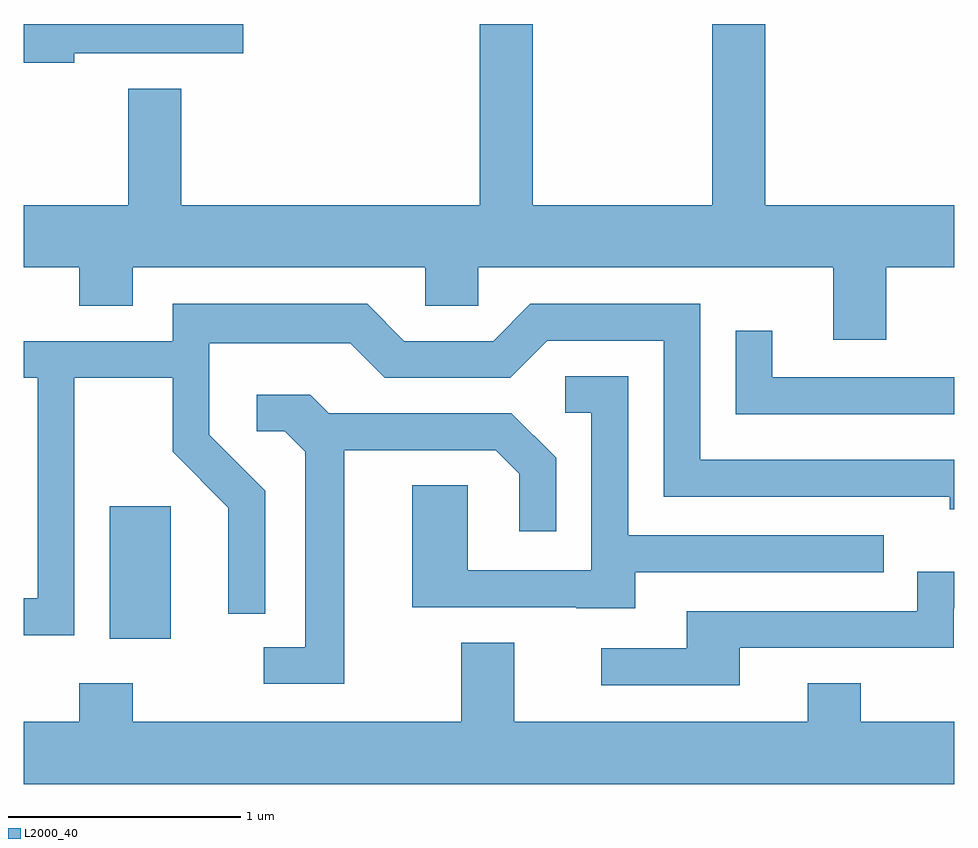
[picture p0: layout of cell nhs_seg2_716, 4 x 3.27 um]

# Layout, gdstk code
import gdstk
lib = gdstk.Library(unit=1e-6, precision=1e-09)
def R(c, l, rs):  # rectangles x0, y0, x1, y1
    for r in rs: c.add(gdstk.rectangle(r[:2], r[2:], *l))
def P(c, l, *ps):  # polygons
    for p in ps: c.add(gdstk.Polygon(p, *l))
L2000_40 = (2000, 40)

nhs_seg2_716 = lib.new_cell('nhs_seg2_716')
R(nhs_seg2_716, L2000_40, [(205.981,1051.161,206.244,1051.729)])
P(nhs_seg2_716, L2000_40, [(205.829,1053.676),(206.554,1053.676),(206.554,1053.802),(205.611,1053.802),(205.611,1053.636),(205.829,1053.636)],
  [(209.319,1052.756),(209.611,1052.756),(209.611,1053.024),(208.799,1053.024),(208.799,1053.802),(208.571,1053.802),(208.571,1053.024),(207.799,1053.024),(207.799,1053.802),(207.571,1053.802),(207.571,1053.024),(206.289,1053.024),(206.289,1053.524),(206.061,1053.524),(206.061,1053.024),(205.611,1053.024),(205.611,1052.756),(205.851,1052.756),(205.851,1052.591),(206.079,1052.591),(206.079,1052.756),(207.336,1052.756),(207.336,1052.591),(207.564,1052.591),(207.564,1052.756),(209.091,1052.756),(209.091,1052.446),(209.319,1052.446)],
  [(205.829,1052.281),(206.251,1052.281),(206.251,1051.964),(206.491,1051.724),(206.491,1051.268),(206.649,1051.268),(206.649,1051.797),(206.409,1052.037),(206.409,1052.431),(207.014,1052.431),(207.164,1052.281),(207.702,1052.281),(207.862,1052.441),(208.361,1052.441),(208.361,1051.771),(209.591,1051.771),(209.591,1051.716),(209.611,1051.716),(209.611,1051.929),(208.519,1051.929),(208.519,1052.599),(207.789,1052.599),(207.629,1052.439),(207.247,1052.439),(207.087,1052.599),(206.251,1052.599),(206.251,1052.439),(205.611,1052.439),(205.611,1052.281),(205.671,1052.281),(205.671,1051.334),(205.611,1051.334),(205.611,1051.176),(205.829,1051.176)],
  [(209.611,1052.284),(208.829,1052.284),(208.829,1052.483),(208.671,1052.483),(208.671,1052.126),(209.611,1052.126)],
  [(208.239,1051.446),(209.308,1051.446),(209.308,1051.604),(208.209,1051.604),(208.209,1052.289),(207.938,1052.289),(207.938,1052.131),(208.051,1052.131),(208.051,1051.454),(207.519,1051.454),(207.519,1051.819),(207.281,1051.819),(207.281,1051.296),(207.985,1051.296),(207.985,1051.291),(208.239,1051.291)],
  [(206.989,1051.971),(207.639,1051.971),(207.741,1051.869),(207.741,1051.623),(207.899,1051.623),(207.899,1051.937),(207.707,1052.129),(206.922,1052.129),(206.842,1052.209),(206.613,1052.209),(206.613,1052.051),(206.734,1052.051),(206.821,1051.964),(206.821,1051.124),(206.643,1051.124),(206.643,1050.966),(206.989,1050.966)],
  [(208.689,1051.121),(209.609,1051.121),(209.609,1051.291),(209.611,1051.291),(209.611,1051.449),(209.451,1051.449),(209.451,1051.279),(208.461,1051.279),(208.461,1051.119),(208.093,1051.119),(208.093,1050.961),(208.689,1050.961)],
  [(209.611,1050.804),(209.209,1050.804),(209.209,1050.969),(208.981,1050.969),(208.981,1050.804),(207.719,1050.804),(207.719,1051.144),(207.491,1051.144),(207.491,1050.804),(206.079,1050.804),(206.079,1050.969),(205.851,1050.969),(205.851,1050.804),(205.611,1050.804),(205.611,1050.536),(209.611,1050.536)])

lib.write_gds('nhs_seg2_716.gds')
